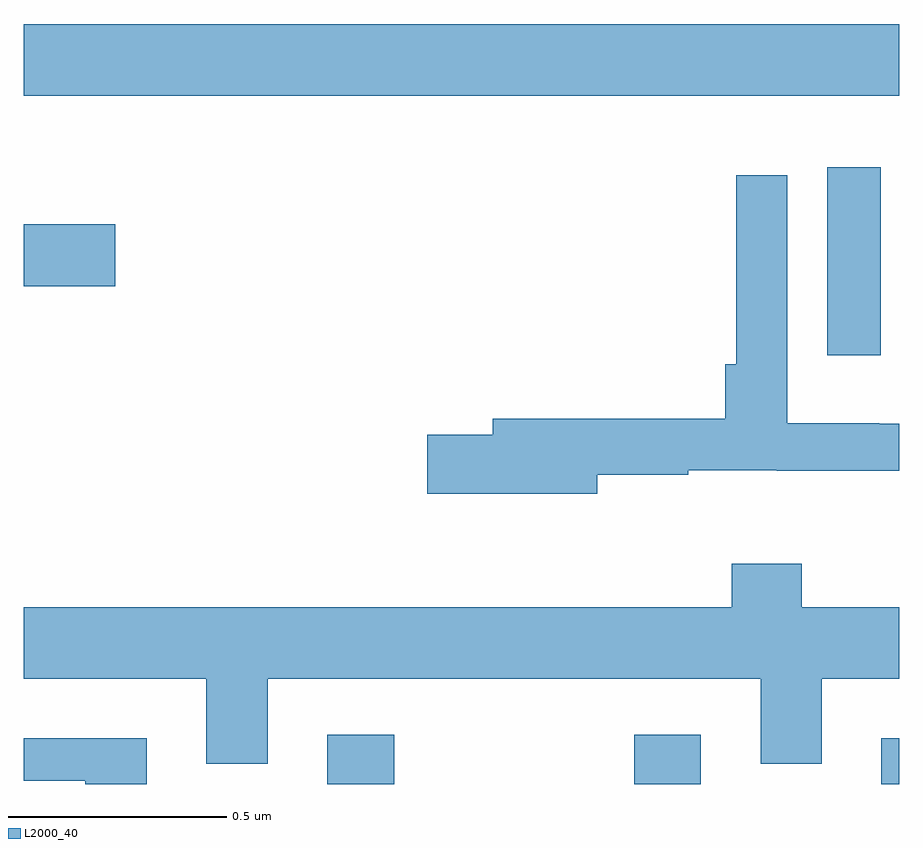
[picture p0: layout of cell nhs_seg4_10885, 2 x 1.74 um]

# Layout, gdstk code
import gdstk
lib = gdstk.Library(unit=1e-6, precision=1e-09)
def R(c, l, rs):  # rectangles x0, y0, x1, y1
    for r in rs: c.add(gdstk.rectangle(r[:2], r[2:], *l))
def P(c, l, *ps):  # polygons
    for p in ps: c.add(gdstk.Polygon(p, *l))
L2000_40 = (2000, 40)

nhs_seg4_10885 = lib.new_cell('nhs_seg4_10885')
R(nhs_seg4_10885, L2000_40, [(245.693,809.9,245.846,810.013), (246.395,809.9,246.547,810.013), (246.959,809.9,247,810.004), (246.836,810.879,246.958,811.309), (245,811.037,245.209,811.179), (245,811.472,247,811.636)])
P(nhs_seg4_10885, L2000_40, [(246.31,810.606),(246.518,810.606),(246.518,810.617),(246.72,810.617),(246.72,810.615),(247,810.615),(247,810.723),(246.954,810.723),(246.954,810.724),(246.744,810.724),(246.744,811.291),(246.628,811.291),(246.628,810.859),(246.602,810.859),(246.602,810.734),(246.071,810.734),(246.071,810.698),(245.922,810.698),(245.922,810.563),(246.31,810.563)],
  [(245.557,810.14),(246.683,810.14),(246.683,809.946),(246.823,809.946),(246.823,810.14),(247,810.14),(247,810.304),(246.777,810.304),(246.777,810.403),(246.617,810.403),(246.617,810.304),(245,810.304),(245,810.14),(245.417,810.14),(245.417,809.946),(245.557,809.946)],
  [(245.281,810.004),(245,810.004),(245,809.907),(245.141,809.907),(245.141,809.9),(245.281,809.9)])

lib.write_gds('nhs_seg4_10885.gds')
